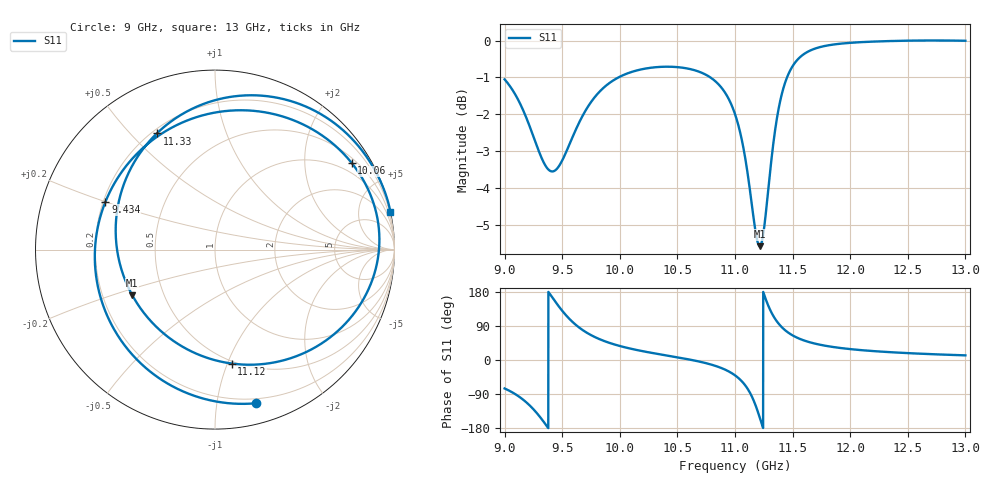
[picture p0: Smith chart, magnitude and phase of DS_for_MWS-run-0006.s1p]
! TOUCHSTONE file generated by CST DESIGN STUDIO
! Date and time: Tue Feb  4 18:21:13 2025
! Project name: C:\Work\MatlabApps\UnitCellOptimizationMatlab\CST\unitcell.cst
! Tree item: Tasks\Sweep1\SPara1\S-Parameters
! Header version: 2024
! Port assignment regex: !\s*Touchstone port\s*([0-9]+)\s*=\s*(CST MWS port|CST DES external port|CST DES block port)\s*(.+)\s* \(\"(.*)\"\)(\s*mode\s*([0-9]+))?.*
! Touchstone port assignment:
! Touchstone port 1 = CST DES external port 1 ("")
# GHz S MA R 50
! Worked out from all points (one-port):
!   4001 points, 9 GHz to 13 GHz, reference 50 ohm
!   lowest |S11| = -5.6 dB at 11.21 GHz (marker M1), VSWR 3.22, Z = 16.4 - j11.6 ohm
!   |S11| at or under -10 dB: nowhere
!   S11 on the Smith chart (normalised r, x): 9 GHz: 0.16, -1.29; 9.434 GHz: 0.21, +0.20; 10.06 GHz: 0.65, +3.34; 11.12 GHz: 0.48, -1.04; 11.33 GHz: 0.22, +0.60; 13 GHz: 0.03, +9.34
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9  0.8859 -75.1
9.121  0.8292 -95.7
9.217  0.7654 -119.7
9.335  0.6856 -161.3
9.434  0.666 156.5
9.5  0.6877 129.9
9.581  0.7344 102.9
9.673  0.7884 80.0
9.823  0.8521 55.1
10  0.8932 37.0
10.06  0.9017 32.3
10.5  0.9203 7.1
10.818  0.8837 -14.4
10.92  0.8469 -26.2
11  0.7949 -40.4
11.062  0.7298 -57.1
11.121  0.6416 -81.6
11.168  0.5647 -111.4
11.214  0.5263 -151.1
11.268  0.584 159.5
11.332  0.7238 116.6
11.401  0.8395 88.2
11.5  0.9231 65.0
11.585  0.9553 53.1
11.689  0.9744 43.6
12  0.9928 28.8
12.5  0.9995 18.1
13  0.9993 12.2
